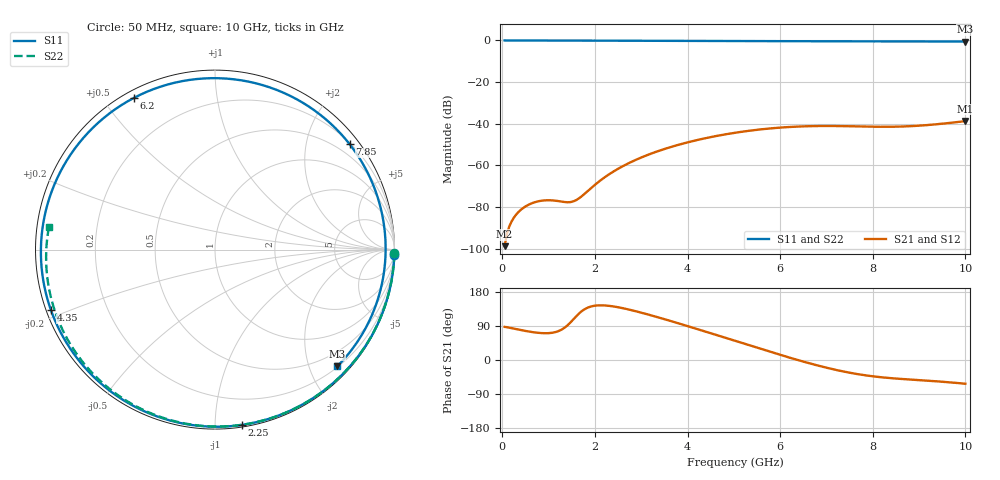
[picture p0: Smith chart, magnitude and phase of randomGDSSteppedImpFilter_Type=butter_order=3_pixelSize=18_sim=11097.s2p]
! freq	dB(S11)	phase(S11)	dB(S12)	phase(S12)
!  dB(S21)	phase(S21)	dB(S22)	phase(S22)
!S-par simulation data
#  GHz  S  DB  R 50
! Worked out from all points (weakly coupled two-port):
!   200 points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, 50 MHz to 10 GHz, reference 50 ohm
!   highest |S21| = -38.71 dB at 10 GHz (marker M1); lowest = -98.7 dB at 50 MHz (marker M2)
!   lowest |S11| = -0.5 dB at 10 GHz (marker M3), VSWR 33.26, Z = 10.8 - j124 ohm
!   |S11| at or under -10 dB: nowhere
!   |S22| runs from -0.6 to 0.0 dB; largest |S21 - S12| = 0
!   S11 on the Smith chart (normalised r, x): 50 MHz: 1, -62; 2.25 GHz: 0.01, -1.16; 4.35 GHz: 0.01, -0.18; 6.2 GHz: 0.03, +0.60; 7.85 GHz: 0.23, +2.89; 10 GHz: 0.22, -2.48
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0.05  -0.00 -1.9  -98.74 87.4  -98.74 87.4  -0.00 -1.1
0.45  -0.02 -16.5  -80.42 77.9  -80.42 77.9  -0.01 -9.9
0.9  -0.04 -32.8  -76.79 70.7  -76.79 70.7  -0.02 -19.8
1.45  -0.07 -52.6  -77.64 96.3  -77.64 96.3  -0.04 -31.6
1.6  -0.07 -58.0  -76.57 115.9  -76.57 115.9  -0.04 -34.8
1.75  -0.08 -63.4  -74.13 131.9  -74.13 131.9  -0.05 -38.0
2.25  -0.10 -81.4  -65.09 143.6  -65.09 143.6  -0.06 -48.4
2.8  -0.13 -101.2  -58.15 131.2  -58.15 131.2  -0.08 -59.6
3.4  -0.16 -123.2  -52.85 111.4  -52.85 111.4  -0.09 -71.5
3.9  -0.19 -142.1  -49.51 93.2  -49.51 93.2  -0.11 -81.1
4.35  -0.23 -159.8  -47.09 76.3  -47.09 76.3  -0.13 -89.5
4.7  -0.25 -174.0  -45.53 63.0  -45.53 63.0  -0.14 -95.9
5.05  -0.28 171.1  -44.23 49.6  -44.23 49.6  -0.16 -102.3
5.6  -0.33 146.6  -42.64 28.6  -42.64 28.6  -0.18 -112.0
6.2  -0.37 118.2  -41.54 6.3  -41.54 6.3  -0.22 -122.3
6.7  -0.40 93.6  -41.11 -10.9  -41.11 -10.9  -0.25 -130.9
7.25  -0.41 66.5  -41.08 -27.3  -41.08 -27.3  -0.29 -140.1
7.85  -0.42 38.0  -41.35 -40.6  -41.35 -40.6  -0.35 -150.2
8.35  -0.43 15.8  -41.44 -47.5  -41.44 -47.5  -0.40 -158.7
8.7  -0.44 1.4  -41.26 -50.7  -41.26 -50.7  -0.43 -164.7
9.1  -0.45 -13.8  -40.75 -53.9  -40.75 -53.9  -0.48 -171.6
10  -0.52 -43.7  -38.71 -62.7  -38.71 -62.7  -0.60 172.3
